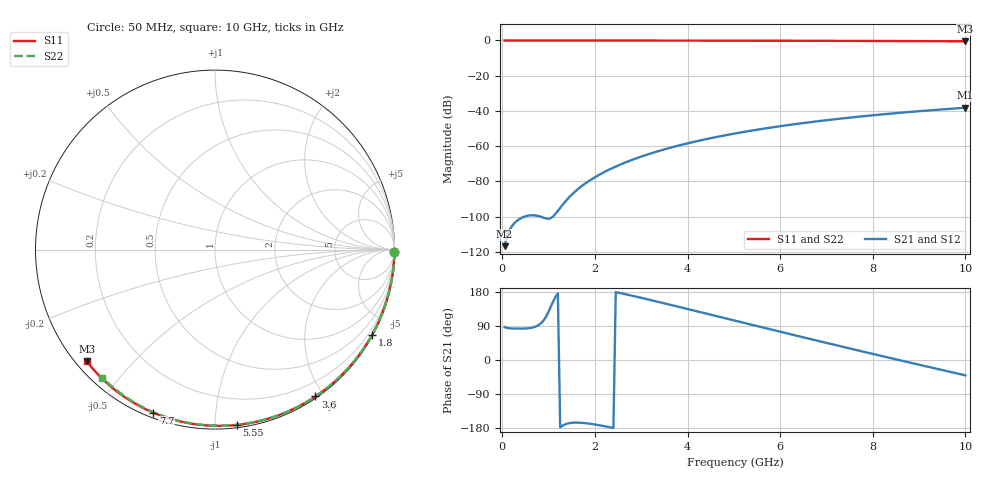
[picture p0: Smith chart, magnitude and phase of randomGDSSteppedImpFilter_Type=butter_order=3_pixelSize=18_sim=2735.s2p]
! freq	dB(S11)	phase(S11)	dB(S12)	phase(S12)
!  dB(S21)	phase(S21)	dB(S22)	phase(S22)
!S-par simulation data
#  GHz  S  DB  R 50
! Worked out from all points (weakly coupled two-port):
!   200 points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, 50 MHz to 10 GHz, reference 50 ohm
!   highest |S21| = -38.17 dB at 10 GHz (marker M1); lowest = -116.7 dB at 50 MHz (marker M2)
!   lowest |S11| = -0.5 dB at 10 GHz (marker M3), VSWR 36.92, Z = 1.54 - j18.7 ohm
!   |S11| at or under -10 dB: nowhere
!   |S22| runs from -0.4 to 0.0 dB; largest |S21 - S12| = 0
!   S11 on the Smith chart (normalised r, x): 50 MHz: open; 1.8 GHz: 0.03, -3.94; 3.6 GHz: 0.02, -1.90; 5.55 GHz: 0.02, -1.13; 7.7 GHz: 0.02, -0.69; 10 GHz: 0.03, -0.37
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0.05  -0.00 -0.8  -116.69 86.8  -116.69 86.8  -0.00 -0.8
0.45  -0.01 -7.2  -100.22 82.8  -100.22 82.8  -0.01 -6.8
0.9  -0.02 -14.4  -100.62 105.7  -100.62 105.7  -0.02 -13.6
1.75  -0.04 -27.7  -81.93 -166.1  -81.93 -166.1  -0.03 -26.2
1.8  -0.04 -28.5  -80.98 -166.7  -80.98 -166.7  -0.03 -26.9
1.85  -0.04 -29.3  -80.08 -167.5  -80.08 -167.5  -0.04 -27.6
2.15  -0.04 -33.9  -75.37 -173.4  -75.37 -173.4  -0.04 -32.0
2.35  -0.05 -36.9  -72.72 -178.2  -72.72 -178.2  -0.04 -34.9
2.55  -0.05 -40.0  -70.37 176.6  -70.37 176.6  -0.05 -37.8
2.95  -0.06 -46.0  -66.33 165.5  -66.33 165.5  -0.06 -43.5
3.4  -0.07 -52.7  -62.53 152.5  -62.53 152.5  -0.07 -49.8
3.6  -0.07 -55.6  -61.05 146.5  -61.05 146.5  -0.07 -52.6
3.9  -0.08 -60.0  -58.99 137.6  -58.99 137.6  -0.08 -56.8
4.3  -0.09 -65.7  -56.55 125.6  -56.55 125.6  -0.09 -62.2
5.05  -0.12 -76.2  -52.64 103.1  -52.64 103.1  -0.11 -72.1
5.55  -0.14 -83.0  -50.42 88.1  -50.42 88.1  -0.13 -78.6
6.1  -0.16 -90.3  -48.26 71.7  -48.26 71.7  -0.15 -85.6
6.7  -0.19 -98.1  -46.18 53.9  -46.18 53.9  -0.18 -93.0
7.7  -0.25 -110.8  -43.23 24.7  -43.23 24.7  -0.24 -105.0
8.35  -0.30 -118.9  -41.58 6.0  -41.58 6.0  -0.29 -112.6
9.2  -0.38 -129.2  -39.70 -18.1  -39.70 -18.1  -0.36 -122.3
10  -0.47 -139.0  -38.17 -40.5  -38.17 -40.5  -0.44 -131.3
